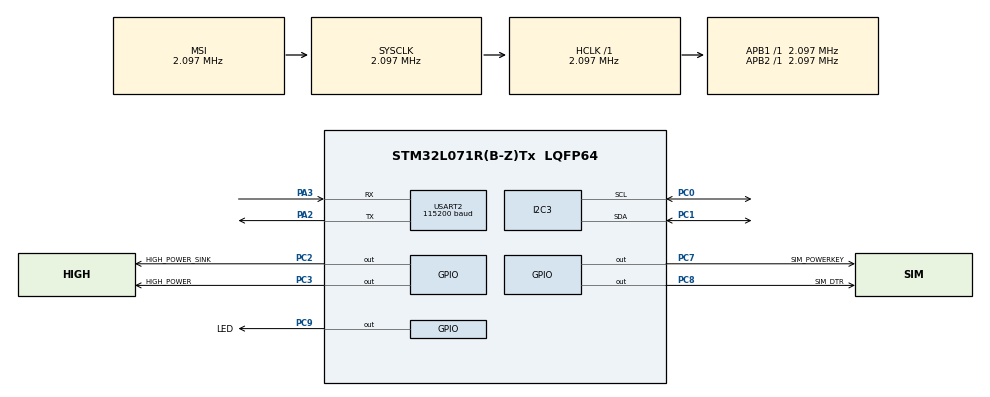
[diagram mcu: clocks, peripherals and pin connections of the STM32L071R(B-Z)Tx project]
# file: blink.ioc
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Mcu.Family=STM32L0
Mcu.Name=STM32L071R(B-Z)Tx
Mcu.Package=LQFP64
NVIC.RTC_IRQn=true\:0\:0\:false\:false\:true\:true\:true\:true
NVIC.USART2_IRQn=true\:0\:0\:false\:false\:true\:true\:true\:true
PA13.Mode=Serial_Wire
PA13.Signal=SYS_SWDIO
PA14.Mode=Serial_Wire
PA14.Signal=SYS_SWCLK
PA2.GPIO_Speed=GPIO_SPEED_FREQ_VERY_HIGH
PA2.Mode=Asynchronous
PA2.Signal=USART2_TX
PA3.GPIO_Speed=GPIO_SPEED_FREQ_VERY_HIGH
PA3.Mode=Asynchronous
PA3.Signal=USART2_RX
PC0.Mode=I2C
PC0.Signal=I2C3_SCL
PC1.Mode=I2C
PC1.Signal=I2C3_SDA
PC2.GPIO_Label=HIGH_POWER_SINK
PC2.GPIO_ModeDefaultOutputPP=GPIO_MODE_OUTPUT_OD
PC2.GPIO_PuPd=GPIO_NOPULL
PC2.PinState=GPIO_PIN_SET
PC2.Signal=GPIO_Output
PC3.GPIO_Label=HIGH_POWER
PC3.GPIO_ModeDefaultOutputPP=GPIO_MODE_OUTPUT_OD
PC3.GPIO_PuPd=GPIO_NOPULL
PC3.PinState=GPIO_PIN_SET
PC3.Signal=GPIO_Output
PC7.GPIO_Label=SIM_POWERKEY
PC7.GPIO_ModeDefaultOutputPP=GPIO_MODE_OUTPUT_PP
PC7.GPIO_PuPd=GPIO_PULLDOWN
PC7.PinState=GPIO_PIN_RESET
PC7.Signal=GPIO_Output
PC8.GPIO_Label=SIM_DTR
PC8.GPIO_PuPd=GPIO_PULLDOWN
PC8.Signal=GPIO_Output
PC9.GPIO_Label=LED
PC9.GPIO_PuPd=GPIO_NOPULL
PC9.PinState=GPIO_PIN_SET
PC9.Signal=GPIO_Output
ProjectManager.HeapSize=0x200
ProjectManager.StackSize=0x400
ProjectManager.TargetToolchain=STM32CubeIDE
RCC.AHBFreq_Value=2097000
RCC.APB1Freq_Value=2097000
RCC.APB1TimFreq_Value=2097000
RCC.APB2Freq_Value=2097000
RCC.APB2TimFreq_Value=2097000
RCC.HCLKFreq_Value=2097000
RCC.HSE_VALUE=8000000
RCC.HSI16_VALUE=16000000
RCC.HSI_VALUE=16000000
RCC.LSE_VALUE=32768
RCC.MSI_VALUE=2097000
RCC.SYSCLKFreq_VALUE=2097000
RCC.VCOOutputFreq_Value=48000000
RTC.WakeUpClock-WakeUp=RTC_WAKEUPCLOCK_CK_SPRE_16BITS
RTC.WakeUpCounter-WakeUp=60
USART2.BaudRate=115200
USART2.SwapParam=ADVFEATURE_SWAP_ENABLE
USART2.VirtualMode-Asynchronous=VM_ASYNC
USART2.WordLength=WORDLENGTH_8B
VP_RTC_VS_RTC_Activate.Mode=RTC_Enabled
VP_RTC_VS_RTC_WakeUp_intern.Mode=WakeUp
board=custom

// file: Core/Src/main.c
/* USER CODE BEGIN Header */
/**
 ******************************************************************************
 * @file           : main.c
 * @brief          : Main program body
 ******************************************************************************
 * @attention
 *
 * Copyright (c) 2024 STMicroelectronics.
 * All rights reserved.
 *
 * This software is licensed under terms that can be found in the LICENSE file
 * in the root directory of this software component.
 * If no LICENSE file comes with this software, it is provided AS-IS.
 *
 ******************************************************************************
 */
/* USER CODE END Header */
#include "main.h"

/* USER CODE BEGIN Includes */
#include "ina226.h"

#include <stdbool.h>
#include <string.h>

#define BUFF_SIZE 256

/* USER CODE END Includes */

I2C_HandleTypeDef hi2c3;

RTC_HandleTypeDef hrtc;

UART_HandleTypeDef huart2;

/* USER CODE BEGIN PV */

unsigned char rxBuff1[BUFF_SIZE];
unsigned char rxBuff2[BUFF_SIZE];
unsigned char lastMessage[BUFF_SIZE];
bool useBuff1 = true;
unsigned char rxBuffReceived[BUFF_SIZE];
bool waitingForReceiving = false;
volatile unsigned int receivingSize = sizeof(rxBuffReceived);
const char *newline = "\r\n";

/* USER CODE END PV */

void SystemClock_Config(void);

static void MX_GPIO_Init(void);

static void MX_RTC_Init(void);

static void MX_I2C3_Init(void);

static void MX_USART2_UART_Init(void);

/* USER CODE BEGIN 0 */

void RampBlink(bool reverse) {
    if (reverse) {
        for (int i = 0; i < 75; i++) {
            HAL_GPIO_TogglePin(LED_GPIO_Port, LED_Pin);
            float v = (float) i / 75.0f;
            float delay = v * v * v * 75.0f;
            HAL_Delay((int) delay);
        }
        HAL_GPIO_WritePin(LED_GPIO_Port, LED_Pin, GPIO_PIN_RESET);
        return;
    }
    for (int i = 75; i > 0; i--) {
        HAL_GPIO_TogglePin(LED_GPIO_Port, LED_Pin);
        float v = (float) i / 75.0f;
        float delay = v * v * v * 75.0f;
        HAL_Delay((int) delay);
    }
    HAL_GPIO_WritePin(LED_GPIO_Port, LED_Pin, GPIO_PIN_SET);
}

//_Noreturn void Shutdown() {
//    // Shutdown blink
//    RampBlink(true);
//
//    /* Select Standby mode */
//    SET_BIT(PWR->CR, PWR_CR_PDDS);
//
//    /* Set SLEEPDEEP bit of Cortex System Control Register */
//    SET_BIT(SCB->SCR, SCB_SCR_SLEEPDEEP_Msk);
//
//    /* This option is used to ensure that store operations are completed */
//#if defined ( __CC_ARM)
//    __force_stores();
//#endif
//
//    // Enter low-power mode
//    for (;;) {
//        __DSB();
//        __WFI();
//    }
//}

void enableHighPower() {
    HAL_GPIO_WritePin(HIGH_POWER_SINK_GPIO_Port, HIGH_POWER_SINK_Pin, GPIO_PIN_RESET);
    HAL_GPIO_WritePin(HIGH_POWER_GPIO_Port, HIGH_POWER_Pin, GPIO_PIN_RESET);
}

void disableHighPower() {
    HAL_GPIO_WritePin(HIGH_POWER_SINK_GPIO_Port, HIGH_POWER_SINK_Pin, GPIO_PIN_SET);
    HAL_GPIO_WritePin(HIGH_POWER_GPIO_Port, HIGH_POWER_Pin, GPIO_PIN_SET);
}

void HAL_UARTEx_RxEventCallback(__attribute__((unused)) UART_HandleTypeDef *huart, uint16_t size) {
    if (!waitingForReceiving) {
        return;
    }
    unsigned char *buffer = useBuff1 ? rxBuff1 : rxBuff2;
    memcpy(&buffer, rxBuffReceived, size);
    buffer[size] = '\0';
    waitingForReceiving = false;
    useBuff1 = !useBuff1;
}

bool send(const char *toSend) {
    HAL_UARTEx_ReceiveToIdle_IT(&huart2, rxBuffReceived, receivingSize);
    waitingForReceiving = true;

    char sendBuff[BUFF_SIZE];
    strcat(sendBuff, toSend);
    strcat(sendBuff, newline);
    HAL_StatusTypeDef status = HAL_UART_Transmit(&huart2,
                                                 (uint8_t *) sendBuff,
                                                 strlen(sendBuff) - 1, // -1 to remove null terminator
                                                 150);
    if (status != HAL_OK) {
        Error_Handler();
    }

    int i = 0;
    while (waitingForReceiving && i < 100) {
        HAL_Delay(100);
        i++;
    }
    if (waitingForReceiving) {
        // Timeout
        return false;
    }
    unsigned char *backBuffer = useBuff1 ? rxBuff2 : rxBuff1;
    memcpy(lastMessage, backBuffer, strlen((char *) backBuffer));

    if (strstr((char *) backBuffer, "OK\r\n")) {
        return true;
    }
    return false;
}

void sendData(double voltage) {

    HAL_GPIO_WritePin(SIM_POWERKEY_GPIO_Port, SIM_POWERKEY_Pin, GPIO_PIN_SET);
    HAL_Delay(500);
    HAL_GPIO_WritePin(SIM_POWERKEY_GPIO_Port, SIM_POWERKEY_Pin, GPIO_PIN_RESET);
    HAL_GPIO_WritePin(SIM_DTR_GPIO_Port, SIM_DTR_Pin, GPIO_PIN_RESET);
    HAL_Delay(600);

    // Send OK until we are getting OK back
    const char at[] = "\r\n";

    int retries = 10;
    bool ok = false;
    while (!ok && retries > 0) {
        ok = send("AT");
        retries--;
    }

    if (retries == 0) {
        Error_Handler();
    }

    // Disable echo
    if (!send("ATE0")) {
        Error_Handler();
    }

    // Set error handling on
    if (!send("AT+CMEE=2")) {
        Error_Handler();
    }

    retries = 10;
    while (!strstr((char *) lastMessage, "+CPIN: READY") && retries > 0) {
        if (!send("AT+CPIN?")) {
            Error_Handler();
        }
        retries--;
    }

    if (retries == 0) {
        Error_Handler();
    }

    if (!send("AT+CNMP=13")) {
        Error_Handler();
    }

    if (!send("AT+CMNB=2")) {
        Error_Handler();
    }

    retries = 10;
    while (!strstr((char *) lastMessage, "+CGREG: 0,1") && retries > 0) {
        if (!send("AT+CGREG?")) {
            Error_Handler();
        }
        retries--;
    }

    if (!send("AT+CGDCONT=1,\"IP\",\"internet.tele2.se\"")) {
        Error_Handler();
    }

    if (!send("AT+CNCFG=0,1,\"internet.tele2.se\"")) {
        Error_Handler();
    }

    if (!send("AT+CNACT=0,1")) {
        Error_Handler();
    }

//    enum RegStatus {
//        REG_NO_RESULT    = -1,
//        REG_UNREGISTERED = 0,
//        REG_SEARCHING    = 2,
//        REG_DENIED       = 3,
//        REG_OK_HOME      = 1,
//        REG_OK_ROAMING   = 5,
//        REG_UNKNOWN      = 4,
//    };

//    RegStatus getRegistrationStatus() {
//        RegStatus epsStatus =
//                (RegStatus)thisModem().getRegistrationStatusXREG("CEREG");
//        // If we're connected on EPS, great!
//        if (epsStatus == REG_OK_HOME || epsStatus == REG_OK_ROAMING) {
//            return epsStatus;
//        } else {
//            // Otherwise, check GPRS network status
//            // We could be using GPRS fall-back or the board could be being moody
//            return (RegStatus)thisModem().getRegistrationStatusXREG("CGREG");
//        }
//    }

//    int8_t getRegistrationStatusXREG(const char* regCommand) {
//        thisModem().sendAT('+', regCommand, '?');
//        // check for any of the three for simplicity
//        int8_t resp = thisModem().waitResponse(GF("+CREG:"), GF("+CGREG:"),
//                                               GF("+CEREG:"));
//        if (resp != 1 && resp != 2 && resp != 3) { return -1; }
//        thisModem().streamSkipUntil(','); /* Skip format (0) */
//        int status = thisModem().stream.parseInt();
//        thisModem().waitResponse();
//        return status;
//    }

}

/* USER CODE END 0 */
int main(void) {

    /* MCU Configuration--------------------------------------------------------*/

    /* Reset of all peripherals, Initializes the Flash interface and the Systick. */
    HAL_Init();

    /* Configure the system clock */
    SystemClock_Config();

    /* Initialize all configured peripherals */
    MX_GPIO_Init();
    MX_RTC_Init();
    MX_I2C3_Init();
    MX_USART2_UART_Init();
    /* USER CODE BEGIN 2 */
    /* Check and handle if the system was resumed from StandBy mode */
    if (__HAL_PWR_GET_FLAG(PWR_FLAG_SB) != RESET) {
        /* Clear Standby flag */
        __HAL_PWR_CLEAR_FLAG(PWR_FLAG_SB);
    }
    __HAL_PWR_CLEAR_FLAG(PWR_FLAG_WU);

    /* USER CODE END 2 */

    /* Infinite loop */
    /* USER CODE BEGIN WHILE */
    while (1) {
        RampBlink(false);

        INA226_wakeUpAndSmellTheVoltage(&hi2c3);
        HAL_Delay(1000);

        // fetch the voltage
        double voltage;
        if (INA226_getBusV(&hi2c3, &voltage) != HAL_OK) {
            Error_Handler();
        }
        INA226_standBy(&hi2c3);
        enableHighPower();

        sendData(voltage);

        disableHighPower();

        /* USER CODE END WHILE */

        /* USER CODE BEGIN 3 */
        HAL_Delay(6000);
        //Shutdown();
    }
    /* USER CODE END 3 */
}

void SystemClock_Config(void) {
    RCC_OscInitTypeDef RCC_OscInitStruct = {0};
    RCC_ClkInitTypeDef RCC_ClkInitStruct = {0};
    RCC_PeriphCLKInitTypeDef PeriphClkInit = {0};

    /** Configure the main internal regulator output voltage
    */
    __HAL_PWR_VOLTAGESCALING_CONFIG(PWR_REGULATOR_VOLTAGE_SCALE1);

    /** Initializes the RCC Oscillators according to the specified parameters
    * in the RCC_OscInitTypeDef structure.
    */
    RCC_OscInitStruct.OscillatorType = RCC_OSCILLATORTYPE_LSI | RCC_OSCILLATORTYPE_MSI;
    RCC_OscInitStruct.LSIState = RCC_LSI_ON;
    RCC_OscInitStruct.MSIState = RCC_MSI_ON;
    RCC_OscInitStruct.MSICalibrationValue = 0;
    RCC_OscInitStruct.MSIClockRange = RCC_MSIRANGE_5;
    RCC_OscInitStruct.PLL.PLLState = RCC_PLL_NONE;
    if (HAL_RCC_OscConfig(&RCC_OscInitStruct) != HAL_OK) {
        Error_Handler();
    }

    /** Initializes the CPU, AHB and APB buses clocks
    */
    RCC_ClkInitStruct.ClockType = RCC_CLOCKTYPE_HCLK | RCC_CLOCKTYPE_SYSCLK
                                  | RCC_CLOCKTYPE_PCLK1 | RCC_CLOCKTYPE_PCLK2;
    RCC_ClkInitStruct.SYSCLKSource = RCC_SYSCLKSOURCE_MSI;
    RCC_ClkInitStruct.AHBCLKDivider = RCC_SYSCLK_DIV1;
    RCC_ClkInitStruct.APB1CLKDivider = RCC_HCLK_DIV1;
    RCC_ClkInitStruct.APB2CLKDivider = RCC_HCLK_DIV1;

    if (HAL_RCC_ClockConfig(&RCC_ClkInitStruct, FLASH_LATENCY_0) != HAL_OK) {
        Error_Handler();
    }
    PeriphClkInit.PeriphClockSelection = RCC_PERIPHCLK_USART2 | RCC_PERIPHCLK_I2C3
                                         | RCC_PERIPHCLK_RTC;
    PeriphClkInit.Usart2ClockSelection = RCC_USART2CLKSOURCE_PCLK1;
    PeriphClkInit.I2c3ClockSelection = RCC_I2C3CLKSOURCE_PCLK1;
    PeriphClkInit.RTCClockSelection = RCC_RTCCLKSOURCE_LSI;
    if (HAL_RCCEx_PeriphCLKConfig(&PeriphClkInit) != HAL_OK) {
        Error_Handler();
    }
}

static void MX_I2C3_Init(void) {

    hi2c3.Instance = I2C3;
    hi2c3.Init.Timing = 0x00000708;
    hi2c3.Init.OwnAddress1 = 0;
    hi2c3.Init.AddressingMode = I2C_ADDRESSINGMODE_7BIT;
    hi2c3.Init.DualAddressMode = I2C_DUALADDRESS_DISABLE;
    hi2c3.Init.OwnAddress2 = 0;
    hi2c3.Init.OwnAddress2Masks = I2C_OA2_NOMASK;
    hi2c3.Init.GeneralCallMode = I2C_GENERALCALL_DISABLE;
    hi2c3.Init.NoStretchMode = I2C_NOSTRETCH_DISABLE;
    if (HAL_I2C_Init(&hi2c3) != HAL_OK) {
        Error_Handler();
    }

    /** Configure Analogue filter
    */
    if (HAL_I2CEx_ConfigAnalogFilter(&hi2c3, I2C_ANALOGFILTER_ENABLE) != HAL_OK) {
        Error_Handler();
    }

    /** Configure Digital filter
    */
    if (HAL_I2CEx_ConfigDigitalFilter(&hi2c3, 0) != HAL_OK) {
        Error_Handler();
    }

}

static void MX_RTC_Init(void) {

    /** Initialize RTC Only
    */
    hrtc.Instance = RTC;
    hrtc.Init.HourFormat = RTC_HOURFORMAT_24;
    hrtc.Init.AsynchPrediv = 127;
    hrtc.Init.SynchPrediv = 255;
    hrtc.Init.OutPut = RTC_OUTPUT_DISABLE;
    hrtc.Init.OutPutRemap = RTC_OUTPUT_REMAP_NONE;
    hrtc.Init.OutPutPolarity = RTC_OUTPUT_POLARITY_HIGH;
    hrtc.Init.OutPutType = RTC_OUTPUT_TYPE_OPENDRAIN;
    if (HAL_RTC_Init(&hrtc) != HAL_OK) {
        Error_Handler();
    }

    /** Enable the WakeUp
    */
    if (HAL_RTCEx_SetWakeUpTimer_IT(&hrtc, 60, RTC_WAKEUPCLOCK_CK_SPRE_16BITS) != HAL_OK) {
        Error_Handler();
    }

}

static void MX_USART2_UART_Init(void) {

    huart2.Instance = USART2;
    huart2.Init.BaudRate = 115200;
    huart2.Init.WordLength = UART_WORDLENGTH_8B;
    huart2.Init.StopBits = UART_STOPBITS_1;
    huart2.Init.Parity = UART_PARITY_NONE;
    huart2.Init.Mode = UART_MODE_TX_RX;
    huart2.Init.HwFlowCtl = UART_HWCONTROL_NONE;
    huart2.Init.OverSampling = UART_OVERSAMPLING_16;
    huart2.Init.OneBitSampling = UART_ONE_BIT_SAMPLE_DISABLE;
    huart2.AdvancedInit.AdvFeatureInit = UART_ADVFEATURE_SWAP_INIT;
    huart2.AdvancedInit.Swap = UART_ADVFEATURE_SWAP_ENABLE;
    if (HAL_UART_Init(&huart2) != HAL_OK) {
        Error_Handler();
    }

}

static void MX_GPIO_Init(void) {
    GPIO_InitTypeDef GPIO_InitStruct = {0};

    /* GPIO Ports Clock Enable */
    __HAL_RCC_GPIOC_CLK_ENABLE();
    __HAL_RCC_GPIOH_CLK_ENABLE();
    __HAL_RCC_GPIOA_CLK_ENABLE();
    __HAL_RCC_GPIOB_CLK_ENABLE();
    __HAL_RCC_GPIOD_CLK_ENABLE();

    /*Configure GPIO pin Output Level */
    HAL_GPIO_WritePin(GPIOC, HIGH_POWER_SINK_Pin | HIGH_POWER_Pin | LED_Pin, GPIO_PIN_SET);

    /*Configure GPIO pin Output Level */
    HAL_GPIO_WritePin(GPIOC, SIM_POWERKEY_Pin | SIM_DTR_Pin, GPIO_PIN_RESET);

    /*Configure GPIO pins : PC13 PC14 PC15 PC4
                             PC5 PC6 PC10 PC11
                             PC12 */
    GPIO_InitStruct.Pin = GPIO_PIN_13 | GPIO_PIN_14 | GPIO_PIN_15 | GPIO_PIN_4
                          | GPIO_PIN_5 | GPIO_PIN_6 | GPIO_PIN_10 | GPIO_PIN_11
                          | GPIO_PIN_12;
    GPIO_InitStruct.Mode = GPIO_MODE_ANALOG;
    GPIO_InitStruct.Pull = GPIO_NOPULL;
    HAL_GPIO_Init(GPIOC, &GPIO_InitStruct);

    /*Configure GPIO pins : PH0 PH1 */
    GPIO_InitStruct.Pin = GPIO_PIN_0 | GPIO_PIN_1;
    GPIO_InitStruct.Mode = GPIO_MODE_ANALOG;
    GPIO_InitStruct.Pull = GPIO_NOPULL;
    HAL_GPIO_Init(GPIOH, &GPIO_InitStruct);

    /*Configure GPIO pins : HIGH_POWER_SINK_Pin HIGH_POWER_Pin */
    GPIO_InitStruct.Pin = HIGH_POWER_SINK_Pin | HIGH_POWER_Pin;
    GPIO_InitStruct.Mode = GPIO_MODE_OUTPUT_OD;
    GPIO_InitStruct.Pull = GPIO_NOPULL;
    GPIO_InitStruct.Speed = GPIO_SPEED_FREQ_LOW;
    HAL_GPIO_Init(GPIOC, &GPIO_InitStruct);

    /*Configure GPIO pins : PA0 PA1 PA4 PA5
                             PA6 PA7 PA8 PA9
                             PA10 PA11 PA12 PA15 */
    GPIO_InitStruct.Pin = GPIO_PIN_0 | GPIO_PIN_1 | GPIO_PIN_4 | GPIO_PIN_5
                          | GPIO_PIN_6 | GPIO_PIN_7 | GPIO_PIN_8 | GPIO_PIN_9
                          | GPIO_PIN_10 | GPIO_PIN_11 | GPIO_PIN_12 | GPIO_PIN_15;
    GPIO_InitStruct.Mode = GPIO_MODE_ANALOG;
    GPIO_InitStruct.Pull = GPIO_NOPULL;
    HAL_GPIO_Init(GPIOA, &GPIO_InitStruct);

    /*Configure GPIO pins : PB0 PB1 PB2 PB10
                             PB11 PB12 PB13 PB14
                             PB15 PB3 PB4 PB5
                             PB6 PB7 PB8 PB9 */
    GPIO_InitStruct.Pin = GPIO_PIN_0 | GPIO_PIN_1 | GPIO_PIN_2 | GPIO_PIN_10
                          | GPIO_PIN_11 | GPIO_PIN_12 | GPIO_PIN_13 | GPIO_PIN_14
                          | GPIO_PIN_15 | GPIO_PIN_3 | GPIO_PIN_4 | GPIO_PIN_5
                          | GPIO_PIN_6 | GPIO_PIN_7 | GPIO_PIN_8 | GPIO_PIN_9;
    GPIO_InitStruct.Mode = GPIO_MODE_ANALOG;
    GPIO_InitStruct.Pull = GPIO_NOPULL;
    HAL_GPIO_Init(GPIOB, &GPIO_InitStruct);

    /*Configure GPIO pins : SIM_POWERKEY_Pin SIM_DTR_Pin */
    GPIO_InitStruct.Pin = SIM_POWERKEY_Pin | SIM_DTR_Pin;
    GPIO_InitStruct.Mode = GPIO_MODE_OUTPUT_PP;
    GPIO_InitStruct.Pull = GPIO_PULLDOWN;
    GPIO_InitStruct.Speed = GPIO_SPEED_FREQ_LOW;
    HAL_GPIO_Init(GPIOC, &GPIO_InitStruct);

    /*Configure GPIO pin : LED_Pin */
    GPIO_InitStruct.Pin = LED_Pin;
    GPIO_InitStruct.Mode = GPIO_MODE_OUTPUT_PP;
    GPIO_InitStruct.Pull = GPIO_NOPULL;
    GPIO_InitStruct.Speed = GPIO_SPEED_FREQ_LOW;
    HAL_GPIO_Init(LED_GPIO_Port, &GPIO_InitStruct);

    /*Configure GPIO pin : PD2 */
    GPIO_InitStruct.Pin = GPIO_PIN_2;
    GPIO_InitStruct.Mode = GPIO_MODE_ANALOG;
    GPIO_InitStruct.Pull = GPIO_NOPULL;
    HAL_GPIO_Init(GPIOD, &GPIO_InitStruct);

}

_Noreturn void Error_Handler(void) {
    /* USER CODE BEGIN Error_Handler_Debug */
    /* User can add his own implementation to report the HAL error return state */
    __disable_irq();
    while (1) {
        HAL_Delay(250);
        HAL_GPIO_TogglePin(LED_GPIO_Port, LED_Pin);
    }
    /* USER CODE END Error_Handler_Debug */
}
